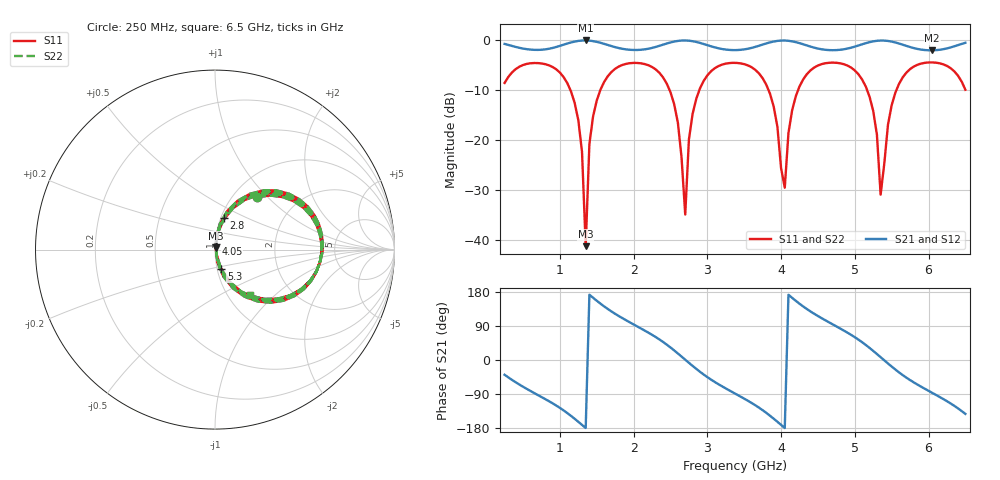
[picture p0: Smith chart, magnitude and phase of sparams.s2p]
! NobuRF kit-ro100-line48: ports 1 "p1", 2 "p2"; 8000 + 8000 steps
# GHz S RI R 50
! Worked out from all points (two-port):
!   126 points, 250 MHz to 6.5 GHz, reference 50 ohm
!   highest |S21| = -0.02 dB at 1.35 GHz (marker M1); lowest = -2.0 dB at 6.05 GHz (marker M2)
!   |S21| within 3 dB of the highest: start of sweep to end of sweep
!   lowest |S11| = -41.2 dB at 1.35 GHz (marker M3), VSWR 1.02, Z = 50.3 + j0.805 ohm
!   |S11| at or under -10 dB: 1.144 GHz to 1.547 GHz (402.6 MHz wide, 29.9 % of centre); 2.489 GHz to 2.89 GHz (401.3 MHz wide, 14.9 % of centre); 3.831 GHz to 4.23 GHz (398.9 MHz wide, 9.9 % of centre)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
!   |S22| runs from -41.2 to -4.4 dB; largest |S21 - S12| = 1.3e-07
!   S11 on the Smith chart (normalised r, x): 250 MHz: 1.28, +0.87; 2.8 GHz: 1.04, +0.38; 4.05 GHz: 1.01, +0.07; 5.3 GHz: 1.05, -0.23; 6.5 GHz: 1.26, -0.71
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0.25  0.2353 0.2923  0.7169 -0.5793  0.7169 -0.5793  0.2353 0.2923
1  0.3818 -0.2848  -0.5224 -0.7097  -0.5224 -0.7097  0.3818 -0.2848
1.3  0.0146 -0.0752  -0.9842 -0.1514  -0.9842 -0.1514  0.0146 -0.0752
1.35  0.00355 0.008  -0.9979 -0.00917  -0.9979 -0.00917  0.00355 0.008
1.4  0.0154 0.0908  -0.9845 0.1327  -0.9845 0.1327  0.0154 0.0908
1.55  0.1646 0.2756  -0.8087 0.4908  -0.8087 0.4908  0.1646 0.2756
1.95  0.5839 0.093  -0.1289 0.7947  -0.1289 0.7947  0.5839 0.093
2.35  0.3822 -0.2791  0.5161 0.7157  0.5161 0.7157  0.3822 -0.2791
2.6  0.0466 -0.1432  0.9428 0.2929  0.9428 0.2929  0.0466 -0.1432
2.7  0.00351 0.0178  0.9974 0.0143  0.9974 0.0143  0.00351 0.0178
2.8  0.0505 0.177  0.9453 -0.2626  0.9453 -0.2626  0.0505 0.177
3.4  0.5946 -0.00894  -0.0168 -0.7999  -0.0168 -0.7999  0.5946 -0.00894
3.85  0.1586 -0.2455  -0.8017 -0.5187  -0.8017 -0.5187  0.1586 -0.2455
4.05  0.00416 0.0334  -0.9962 -0.00786  -0.9962 -0.00786  0.00416 0.0334
4.15  0.0562 0.1921  -0.9401 0.2686  -0.9401 0.2686  0.0562 0.1921
4.45  0.4547 0.2827  -0.4459 0.7182  -0.4459 0.7182  0.4547 0.2827
5.05  0.3673 -0.2727  0.5266 0.7164  0.5266 0.7164  0.3673 -0.2727
5.3  0.035 -0.1085  0.9526 0.2693  0.9526 0.2693  0.035 -0.1085
5.35  0.00864 -0.0273  0.9873 0.1295  0.9873 0.1295  0.00864 -0.0273
5.5  0.0675 0.2143  0.9285 -0.2887  0.9285 -0.2887  0.0675 0.2143
6.05  0.6007 0.036  0.046 -0.7938  0.046 -0.7938  0.6007 0.036
6.5  0.195 -0.2549  -0.7474 -0.5796  -0.7474 -0.5796  0.195 -0.2549
